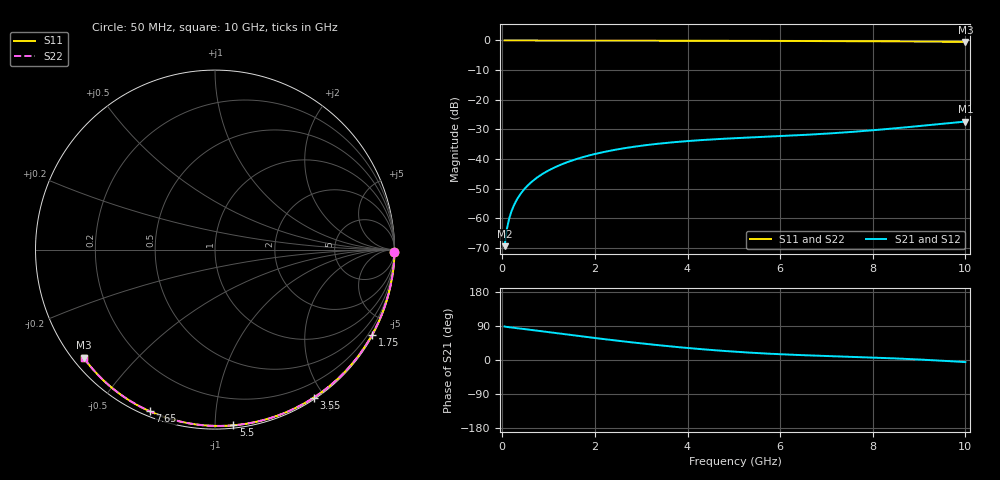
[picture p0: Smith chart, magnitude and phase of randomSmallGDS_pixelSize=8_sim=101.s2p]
! freq	dB(S11)	phase(S11)	dB(S12)	phase(S12)
!  dB(S21)	phase(S21)	dB(S22)	phase(S22)
!S-par simulation data
#  GHz  S  DB  R 50
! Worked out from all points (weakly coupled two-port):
!   200 points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, 50 MHz to 10 GHz, reference 50 ohm
!   highest |S21| = -27.37 dB at 10 GHz (marker M1); lowest = -69.4 dB at 50 MHz (marker M2)
!   lowest |S11| = -0.5 dB at 10 GHz (marker M3), VSWR 37.27, Z = 1.51 - j17.9 ohm
!   |S11| at or under -10 dB: nowhere
!   |S22| runs from -0.5 to 0.0 dB; largest |S21 - S12| = 0
!   S11 on the Smith chart (normalised r, x): 50 MHz: open; 1.75 GHz: 0.03, -3.94; 3.55 GHz: 0.02, -1.87; 5.5 GHz: 0.02, -1.11; 7.65 GHz: 0.02, -0.68; 10 GHz: 0.03, -0.36
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0.05  -0.00 -0.8  -69.43 88.4  -69.43 88.4  -0.00 -0.8
0.1  -0.00 -1.7  -63.49 87.2  -63.49 87.2  -0.00 -1.7
0.15  -0.00 -2.5  -60.04 86.4  -60.04 86.4  -0.00 -2.5
0.2  -0.00 -3.3  -57.59 85.7  -57.59 85.7  -0.00 -3.3
0.25  -0.00 -4.1  -55.69 85.0  -55.69 85.0  -0.00 -4.1
0.35  -0.00 -5.8  -52.81 83.5  -52.81 83.5  -0.00 -5.8
0.5  -0.01 -8.3  -49.75 81.3  -49.75 81.3  -0.01 -8.3
0.7  -0.01 -11.5  -46.88 78.2  -46.88 78.2  -0.01 -11.5
1  -0.02 -16.4  -43.87 73.4  -43.87 73.4  -0.02 -16.4
1.35  -0.03 -22.1  -41.39 68.0  -41.39 68.0  -0.03 -22.1
1.75  -0.04 -28.5  -39.33 61.8  -39.33 61.8  -0.04 -28.5
2.5  -0.05 -40.3  -36.72 50.7  -36.72 50.7  -0.05 -40.3
3.4  -0.07 -54.0  -34.80 38.7  -34.80 38.7  -0.07 -54.0
3.55  -0.08 -56.3  -34.56 36.9  -34.56 36.9  -0.08 -56.3
4.3  -0.10 -67.2  -33.62 28.6  -33.62 28.6  -0.10 -67.3
5.05  -0.12 -77.8  -32.96 21.7  -32.96 21.7  -0.12 -77.9
5.5  -0.14 -84.0  -32.63 18.3  -32.63 18.3  -0.14 -84.0
6.7  -0.19 -99.9  -31.72 11.8  -31.72 11.8  -0.19 -99.9
7.65  -0.25 -111.9  -30.74 8.0  -30.74 8.0  -0.25 -112.0
8.35  -0.30 -120.6  -29.83 4.8  -29.83 4.8  -0.30 -120.6
9.2  -0.38 -130.9  -28.59 0.1  -28.59 0.1  -0.38 -130.9
10  -0.47 -140.5  -27.37 -5.5  -27.37 -5.5  -0.47 -140.5
